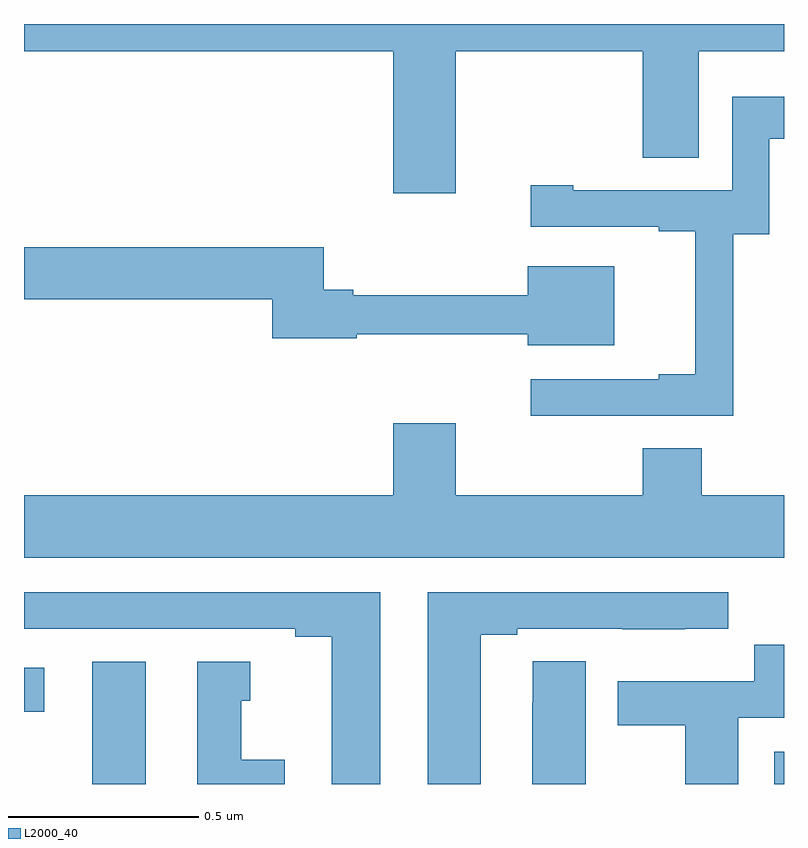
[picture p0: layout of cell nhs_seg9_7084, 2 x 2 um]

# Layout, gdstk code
import gdstk
lib = gdstk.Library(unit=1e-6, precision=1e-09)
def R(c, l, rs):  # rectangles x0, y0, x1, y1
    for r in rs: c.add(gdstk.rectangle(r[:2], r[2:], *l))
def P(c, l, *ps):  # polygons
    for p in ps: c.add(gdstk.Polygon(p, *l))
L2000_40 = (2000, 40)

nhs_seg9_7084 = lib.new_cell('nhs_seg9_7084')
R(nhs_seg9_7084, L2000_40, [(200.18,1186.5,200.32,1186.822), (201.974,1186.5,202,1186.585), (200,1186.69,200.053,1186.806)])
P(nhs_seg9_7084, L2000_40, [(201.136,1188.428),(201.628,1188.428),(201.628,1188.148),(201.775,1188.148),(201.775,1188.428),(202,1188.428),(202,1188.5),(200,1188.5),(200,1188.428),(200.972,1188.428),(200.972,1188.054),(201.136,1188.054)],
  [(201.867,1187.947),(201.961,1187.947),(201.961,1188.198),(202,1188.198),(202,1188.309),(201.864,1188.309),(201.864,1188.063),(201.445,1188.063),(201.445,1188.076),(201.333,1188.076),(201.333,1187.967),(201.671,1187.967),(201.671,1187.955),(201.767,1187.955),(201.767,1187.578),(201.671,1187.578),(201.671,1187.565),(201.333,1187.565),(201.333,1187.469),(201.867,1187.469)],
  [(201.553,1187.863),(201.326,1187.863),(201.326,1187.786),(200.866,1187.786),(200.866,1187.801),(200.789,1187.801),(200.789,1187.912),(200,1187.912),(200,1187.776),(200.653,1187.776),(200.653,1187.673),(200.876,1187.673),(200.876,1187.683),(201.326,1187.683),(201.326,1187.654),(201.553,1187.654)],
  [(202,1187.26),(201.783,1187.26),(201.783,1187.384),(201.628,1187.384),(201.628,1187.26),(201.136,1187.26),(201.136,1187.449),(200.972,1187.449),(200.972,1187.26),(200,1187.26),(200,1187.096),(202,1187.096)],
  [(201.202,1186.893),(201.298,1186.893),(201.298,1186.908),(201.574,1186.908),(201.574,1186.907),(201.74,1186.907),(201.74,1186.908),(201.853,1186.908),(201.853,1187.004),(201.062,1187.004),(201.062,1186.5),(201.202,1186.5)],
  [(200.938,1187.004),(200,1187.004),(200,1186.908),(200.714,1186.908),(200.714,1186.888),(200.81,1186.888),(200.81,1186.5),(200.938,1186.5)],
  [(201.88,1186.674),(202,1186.674),(202,1186.867),(201.922,1186.867),(201.922,1186.77),(201.563,1186.77),(201.563,1186.654),(201.74,1186.654),(201.74,1186.5),(201.88,1186.5)],
  [(201.478,1186.823),(201.339,1186.823),(201.339,1186.715),(201.338,1186.715),(201.338,1186.5),(201.478,1186.5)],
  [(200.686,1186.564),(200.572,1186.564),(200.572,1186.719),(200.596,1186.719),(200.596,1186.822),(200.456,1186.822),(200.456,1186.5),(200.686,1186.5)])

lib.write_gds('nhs_seg9_7084.gds')
